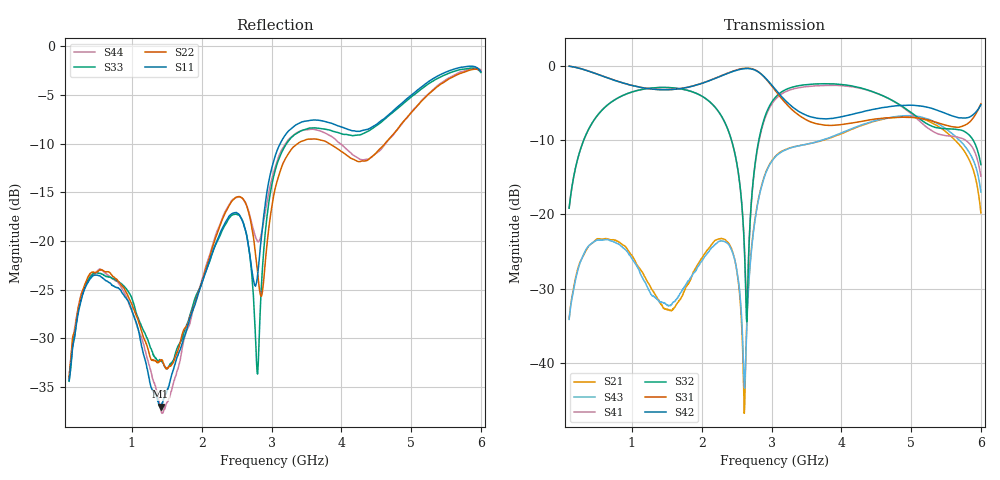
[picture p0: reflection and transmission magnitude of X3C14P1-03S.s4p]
!De-embed:  ON
# GHz S RI R 50
! S-Parameters data
! Freq  reS11  imS11  reS12  imS12  reS13  imS13  reS14  imS14
!  reS21  imS21  reS22  imS22  reS23  imS23  reS24  imS24
!  reS31  imS31  reS32  imS32  reS33  imS33  reS34  imS34
!  reS41  imS41  reS42  imS42  reS43  imS43  reS44  imS44
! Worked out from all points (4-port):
!   1181 points, 100 MHz to 6 GHz, reference 50 ohm
!   strongest paths, dB at 100 MHz, 1.575 GHz, 3.05 GHz, 4.525 GHz, 6 GHz:
!     S42: -0.1, -3.2, -3.1, -5.8, -5.3
!     S31: -0.1, -3.2, -3.3, -7.1, -5.1
!     S32: -19.2, -3.0, -4.3, -3.8, -13.3
!     S41: -19.2, -3.0, -4.6, -3.8, -14.9
!     S43: -34.1, -32.0, -12.3, -7.3, -17.0
!     S21: -34.0, -32.9, -12.3, -7.4, -19.8
!   lowest |S11| = -37.0 dB at 1.41 GHz (marker M1), VSWR 1.03, Z = 50.8 + j1.19 ohm
!   |S11| at or under -10 dB: start of sweep to 3.124 GHz
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0.1  -0.000964 -0.0192  0.00484 0.0193  0.9739 -0.1859  0.0224 0.1076
     0.00488 0.0193  -0.00114 -0.0198  0.0222 0.1076  0.9726 -0.1894
     0.9736 -0.1856  0.0222 0.1076  -0.00332 -0.0188  0.00502 0.019
     0.0223 0.1076  0.9724 -0.1895  0.00505 0.019  -0.00318 -0.0198
1.41  0.00778 0.0118  0.0167 -0.0178  -0.309 -0.6164  0.6283 -0.3374
      0.0181 -0.0175  0.012 0.0211  0.6341 -0.3258  -0.334 -0.602
      -0.3088 -0.6161  0.6342 -0.3255  0.0106 0.0219  0.0203 -0.0153
      0.6281 -0.3365  -0.3334 -0.602  0.0204 -0.0155  0.00435 0.013
2.355  -0.0116 -0.1272  0.0408 -0.0524  -0.859 0.2086  -0.0825 -0.3824
       0.0417 -0.0512  -0.0341 -0.1391  -0.0709 -0.386  -0.8462 0.243
       -0.8589 0.2081  -0.0707 -0.386  -0.023 -0.1218  0.0395 -0.0506
       -0.0822 -0.3823  -0.8459 0.2425  0.0388 -0.0514  -0.0228 -0.1436
2.61  -0.0745 -0.0922  0.00413 -0.00205  -0.6578 0.6987  -0.0264 -0.0572
      0.00421 -0.00181  -0.1319 -0.0928  -0.0274 -0.0544  -0.6346 0.7121
      -0.6581 0.6979  -0.0274 -0.0544  -0.0982 -0.0678  0.00565 -0.00391
      -0.0264 -0.0572  -0.6342 0.7117  0.00563 -0.00409  -0.1076 -0.1185
2.79  0.00331 -0.0623  0.1048 0.0408  -0.2405 0.8905  0.2564 0.0371
      0.1038 0.0403  -0.0695 -0.0276  0.2587 0.0576  -0.2325 0.8896
      -0.2415 0.8897  0.2587 0.0577  -0.0123 -0.0186  0.1037 0.0334
      0.2561 0.037  -0.2324 0.8892  0.1042 0.0336  -0.0609 -0.0807
3.25  -0.1056 -0.3534  0.0614 -0.2718  0.3175 0.4238  0.4368 -0.5248
      0.0603 -0.2723  -0.1178 -0.2579  0.476 -0.52  0.315 0.4529
      0.316 0.4243  0.4759 -0.5194  -0.0768 -0.3193  0.0467 -0.2744
      0.4366 -0.5237  0.3153 0.4527  0.0479 -0.2734  -0.1749 -0.2842
6  -0.1854 0.7163  0.0512 -0.0884  -0.5478 -0.0894  -0.1767 -0.0354
   0.0523 -0.0877  -0.2689 0.6934  -0.2096 -0.0513  -0.5225 -0.1547
   -0.5458 -0.0919  -0.2092 -0.0519  -0.218 0.6999  0.1215 -0.0724
   -0.1767 -0.0359  -0.5221 -0.1541  0.1204 -0.0734  -0.282 0.7005
